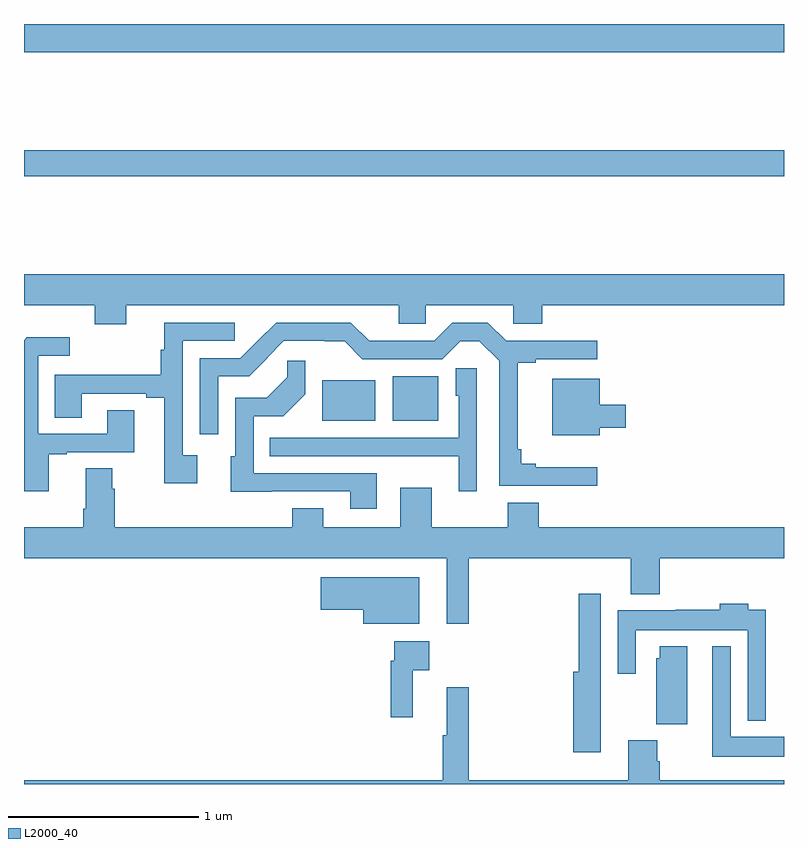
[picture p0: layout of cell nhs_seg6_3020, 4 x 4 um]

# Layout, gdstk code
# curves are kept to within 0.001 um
import gdstk
lib = gdstk.Library(unit=1e-6, precision=1e-09)
def R(c, l, rs):  # rectangles x0, y0, x1, y1
    for r in rs: c.add(gdstk.rectangle(r[:2], r[2:], *l))
def P(c, l, *ps):  # polygons
    for p in ps: c.add(gdstk.Polygon(p, *l))
L2000_40 = (2000, 40)

nhs_seg6_3020 = lib.new_cell('nhs_seg6_3020')
R(nhs_seg6_3020, L2000_40, [(290.57,929.411,290.848,929.626), (290.942,929.411,291.181,929.647), (289,930.7,293,930.836), (289,931.352,293,931.5)])
P(nhs_seg6_3020, L2000_40, [(289.537,930.02),(290.972,930.02),(290.972,929.922),(291.114,929.922),(291.114,930.02),(291.576,930.02),(291.576,929.922),(291.728,929.922),(291.728,930.02),(293,930.02),(293,930.184),(289,930.184),(289,930.02),(289.373,930.02),(289.373,929.921),(289.537,929.921)],
  [(292.018,929.167),(291.694,929.167),(291.694,929.186),(291.617,929.186),(291.617,929.263),(291.599,929.263),(291.599,929.716),(291.694,929.716),(291.694,929.736),(292.018,929.736),(292.018,929.834),(291.771,929.834),(291.771,929.832),(291.538,929.832),(291.442,929.928),(291.255,929.928),(291.159,929.832),(290.92,929.832),(290.92,929.834),(290.816,929.834),(290.721,929.928),(290.327,929.928),(290.139,929.742),(289.926,929.742),(289.926,929.34),(290.022,929.34),(290.022,929.646),(290.185,929.646),(290.279,929.74),(290.277,929.742),(290.367,929.832),(290.687,929.831),(290.781,929.736),(291.201,929.736),(291.296,929.831),(291.397,929.831),(291.501,929.727),(291.501,929.07),(292.018,929.069)],
  [(289.912,929.23),(289.836,929.23),(289.836,929.832),(290.109,929.832),(290.109,929.928),(289.739,929.928),(289.739,929.786),(289.72,929.786),(289.72,929.654),(289.163,929.654),(289.163,929.428),(289.303,929.428),(289.303,929.553),(289.643,929.553),(289.643,929.533),(289.739,929.533),(289.739,929.082),(289.912,929.082)],
  [(289.129,929.235),(289.225,929.235),(289.225,929.247),(289.579,929.247),(289.579,929.468),(289.439,929.468),(289.439,929.343),(289.074,929.343),(289.074,929.754),(289.24,929.754),(289.24,929.851),(289.015,929.851),(289,929.836),(289,929.04),(289.129,929.04)],
  [(290.857,929.136),(290.208,929.136),(290.208,929.436),(290.365,929.436),(290.481,929.552),(290.481,929.728),(290.386,929.728),(290.386,929.64),(290.278,929.532),(290.112,929.532),(290.112,929.226),(290.087,929.226),(290.087,929.039),(290.717,929.04),(290.717,928.95),(290.857,928.95)],
  [(291.384,929.687),(291.272,929.687),(291.272,929.544),(291.288,929.544),(291.288,929.322),(290.293,929.322),(290.293,929.226),(290.953,929.226),(290.953,929.225),(291.287,929.225),(291.287,929.04),(291.384,929.04)],
  [(292.03,929.375),(292.168,929.375),(292.168,929.497),(292.03,929.497),(292.03,929.632),(291.779,929.632),(291.779,929.336),(292.03,929.336)],
  [(291.341,928.688),(292.193,928.688),(292.193,928.499),(292.346,928.499),(292.346,928.688),(293,928.688),(293,928.852),(291.709,928.852),(291.709,928.981),(291.545,928.981),(291.545,928.852),(291.145,928.852),(291.145,929.059),(290.981,929.059),(290.981,928.852),(290.575,928.852),(290.575,928.951),(290.411,928.951),(290.411,928.852),(289.478,928.852),(289.478,929.054),(289.465,929.054),(289.465,929.162),(289.325,929.162),(289.325,928.948),(289.313,928.948),(289.313,928.852),(289,928.852),(289,928.688),(291.224,928.688),(291.224,928.344),(291.341,928.344)],
  [(291.079,928.588),(290.562,928.588),(290.562,928.418),(290.786,928.418),(290.786,928.343),(291.079,928.343)],
  [(292.036,927.986),(292.035,927.986),(292.035,928.501),(291.919,928.501),(291.919,928.09),(291.89,928.09),(291.89,927.666),(292.036,927.666)],
  [(292.905,928.417),(292.813,928.417),(292.813,928.45),(292.661,928.45),(292.661,928.417),(292.429,928.417),(292.429,928.414),(292.125,928.414),(292.125,928.08),(292.221,928.08),(292.221,928.31),(292.809,928.31),(292.809,927.833),(292.905,927.833)],
  [(291.047,928.1),(291.133,928.1),(291.133,928.252),(290.949,928.252),(290.949,928.148),(290.929,928.148),(290.929,927.852),(291.047,927.852)],
  [(292.492,928.225),(292.346,928.225),(292.346,928.161),(292.328,928.161),(292.328,927.814),(292.492,927.814)],
  [(293,927.748),(292.719,927.748),(292.719,928.225),(292.622,928.225),(292.622,927.644),(293,927.644)],
  [(293,927.52),(292.346,927.52),(292.346,927.62),(292.333,927.62),(292.333,927.729),(292.181,927.729),(292.181,927.52),(291.341,927.52),(291.341,928.009),(291.224,928.009),(291.224,927.756),(291.205,927.756),(291.205,927.52),(289,927.52),(289,927.5),(293,927.5)])

lib.write_gds('nhs_seg6_3020.gds')
